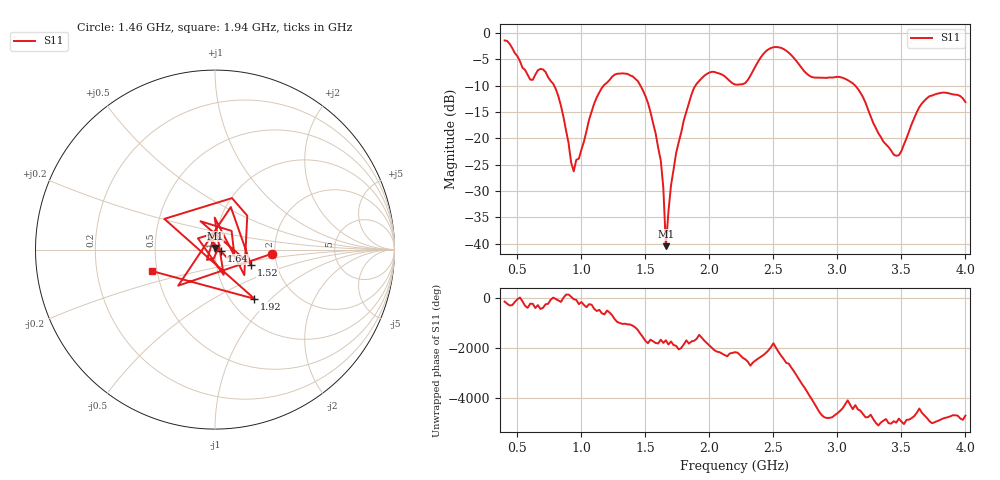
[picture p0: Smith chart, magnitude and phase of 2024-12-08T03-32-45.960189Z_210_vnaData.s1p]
!Created with skrf (http://scikit-rf.org).
# Hz S RI R 50.0
!freq ReS11 ImS11
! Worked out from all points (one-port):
!   181 points, 400 MHz to 4 GHz, reference 50 ohm
!   lowest |S11| = -40.5 dB at 1.66 GHz (marker M1), VSWR 1.02, Z = 50 + j0.944 ohm
!   |S11| at or under -10 dB: 787.4 MHz to 1.173 GHz (385.8 MHz wide, 39.4 % of centre); 1.462 GHz to 1.89 GHz (428.6 MHz wide, 25.6 % of centre); 3.141 GHz to end of sweep
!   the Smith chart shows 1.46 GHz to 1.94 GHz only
!   S11 on the Smith chart (normalised r, x): 1.46 GHz: 1.93, -0.10; 1.52 GHz: 1.47, -0.26; 1.64 GHz: 1.07, -0.02; 1.92 GHz: 1.28, -0.80; 1.94 GHz: 0.47, -0.13
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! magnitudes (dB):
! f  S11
! 400 MHz  -1.4
! 600 MHz  -8.8
! 720 MHz  -7.4
! 860 MHz  -15.9
! 940 MHz  -26.3
! 1.12 GHz  -12.2
! 1.3 GHz  -7.7
! 1.46 GHz  -9.9
! 1.52 GHz  -13.3
! 1.62 GHz  -24.2
! 1.64 GHz  -29.4
! 1.66 GHz  -40.5
! 1.7 GHz  -28.9
! 1.76 GHz  -20.7
! 1.86 GHz  -11.7
! 1.92 GHz  -9.1
! 1.94 GHz  -8.6
! 2.04 GHz  -7.4
! 2.2 GHz  -9.8
! 2.28 GHz  -9.5
! 2.48 GHz  -2.8
! 2.66 GHz  -4.7
! 2.8 GHz  -8.3
! 3.1 GHz  -9.2
! 3.44 GHz  -23.1
! 3.56 GHz  -18.6
! 3.72 GHz  -12.0
! 4 GHz  -13.1
